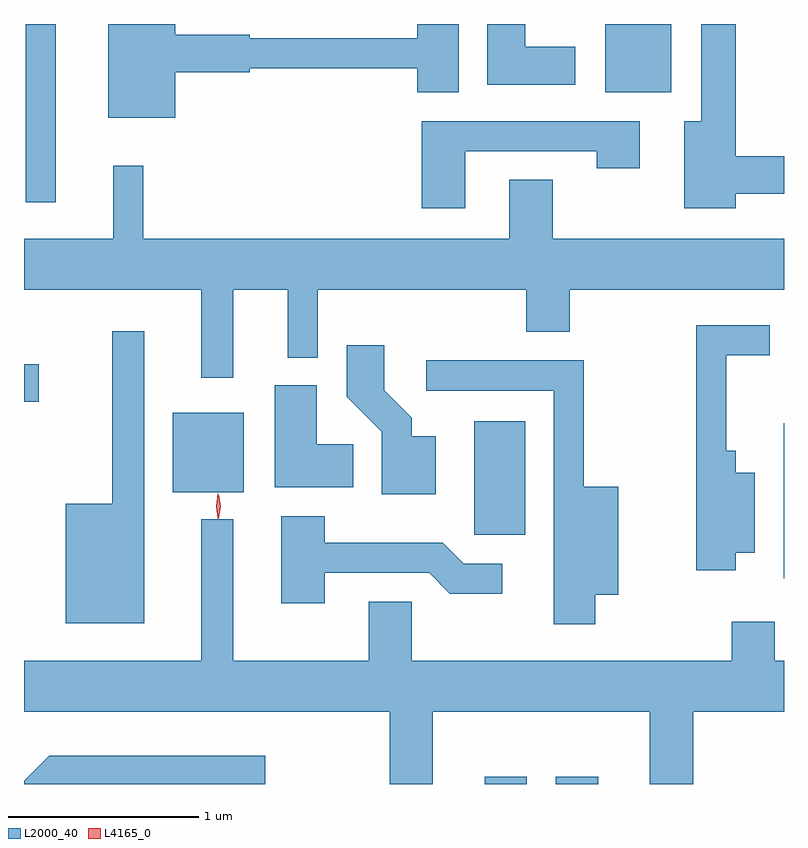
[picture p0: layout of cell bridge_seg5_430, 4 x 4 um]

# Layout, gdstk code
import gdstk
lib = gdstk.Library(unit=1e-6, precision=1e-09)
def R(c, l, rs):  # rectangles x0, y0, x1, y1
    for r in rs: c.add(gdstk.rectangle(r[:2], r[2:], *l))
def P(c, l, *ps):  # polygons
    for p in ps: c.add(gdstk.Polygon(p, *l))
L2000_40 = (2000, 40)
L4165_0 = (4165, 0)

bridge_seg5_430 = lib.new_cell('bridge_seg5_430')
R(bridge_seg5_430, L2000_40, [(211.211,1491.935,211.434,1491.974), (211.586,1491.935,211.809,1491.974), (211.156,1493.246,211.424,1493.844), (209.571,1493.471,209.944,1493.889), (208.787,1493.946,208.864,1494.144), (208.796,1494.998,208.954,1495.935), (211.846,1495.576,212.194,1495.935)])
P(bridge_seg5_430, L2000_40, [(211.689,1495.814),(211.424,1495.814),(211.424,1495.935),(211.226,1495.935),(211.226,1495.616),(211.689,1495.616)],
  [(209.584,1495.681),(209.974,1495.681),(209.974,1495.701),(210.856,1495.701),(210.856,1495.576),(211.074,1495.576),(211.074,1495.935),(210.856,1495.935),(210.856,1495.859),(209.974,1495.859),(209.974,1495.879),(209.584,1495.879),(209.584,1495.935),(209.231,1495.935),(209.231,1495.441),(209.584,1495.441)],
  [(212.534,1495.041),(212.787,1495.041),(212.787,1495.239),(212.534,1495.239),(212.534,1495.935),(212.351,1495.935),(212.351,1495.424),(212.261,1495.424),(212.261,1494.966),(212.534,1494.966)],
  [(211.109,1495.266),(211.801,1495.266),(211.801,1495.176),(212.029,1495.176),(212.029,1495.424),(210.881,1495.424),(210.881,1494.966),(211.109,1494.966)],
  [(209.889,1494.536),(210.176,1494.536),(210.176,1494.178),(210.334,1494.178),(210.334,1494.536),(211.431,1494.536),(211.431,1494.316),(211.659,1494.316),(211.659,1494.536),(212.787,1494.536),(212.787,1494.804),(211.569,1494.804),(211.569,1495.114),(211.341,1495.114),(211.341,1494.804),(209.414,1494.804),(209.414,1495.188),(209.256,1495.188),(209.256,1494.804),(208.787,1494.804),(208.787,1494.536),(209.721,1494.536),(209.721,1494.073),(209.889,1494.073)],
  [(212.534,1493.151),(212.634,1493.151),(212.634,1493.574),(212.534,1493.574),(212.534,1493.689),(212.484,1493.689),(212.484,1494.191),(212.713,1494.191),(212.713,1494.349),(212.326,1494.349),(212.326,1493.061),(212.534,1493.061)],
  [(209.419,1494.318),(209.251,1494.318),(209.251,1493.409),(209.006,1493.409),(209.006,1492.781),(209.419,1492.781)],
  [(210.954,1493.764),(210.829,1493.764),(210.829,1493.862),(210.684,1494.007),(210.684,1494.244),(210.486,1494.244),(210.486,1493.974),(210.671,1493.789),(210.671,1493.461),(210.954,1493.461)],
  [(211.794,1492.931),(211.914,1492.931),(211.914,1493.499),(211.734,1493.499),(211.734,1494.164),(210.903,1494.164),(210.903,1494.006),(211.576,1494.006),(211.576,1492.776),(211.794,1492.776)],
  [(210.519,1493.724),(210.329,1493.724),(210.329,1494.034),(210.106,1494.034),(210.106,1493.496),(210.519,1493.496)],
  [(212.787,1493.833),(212.786,1493.833),(212.786,1493.019),(212.787,1493.018)],
  [(210.369,1493.046),(210.919,1493.046),(211.029,1492.936),(211.303,1492.936),(211.303,1493.094),(211.102,1493.094),(210.992,1493.204),(210.369,1493.204),(210.369,1493.344),(210.141,1493.344),(210.141,1492.886),(210.369,1492.886)],
  [(210.939,1492.316),(212.081,1492.316),(212.081,1491.935),(212.309,1491.935),(212.309,1492.316),(212.787,1492.316),(212.787,1492.584),(212.739,1492.584),(212.739,1492.789),(212.511,1492.789),(212.511,1492.584),(210.829,1492.584),(210.829,1492.894),(210.601,1492.894),(210.601,1492.584),(209.889,1492.584),(209.889,1493.328),(209.721,1493.328),(209.721,1492.584),(208.787,1492.584),(208.787,1492.316),(210.711,1492.316),(210.711,1491.935),(210.939,1491.935)],
  [(210.058,1492.084),(208.919,1492.084),(208.787,1491.953),(208.787,1491.935),(210.058,1491.935)])
P(bridge_seg5_430, L4165_0, [(209.808,1493.329),(209.807,1493.33),(209.798,1493.398),(209.807,1493.466),(209.808,1493.466),(209.808,1493.466),(209.818,1493.398),(209.808,1493.33)],
  [(209.81,1493.333),(209.801,1493.397),(209.812,1493.461),(209.812,1493.462),(209.813,1493.461),(209.822,1493.397),(209.811,1493.333),(209.811,1493.333)])

lib.write_gds('bridge_seg5_430.gds')
